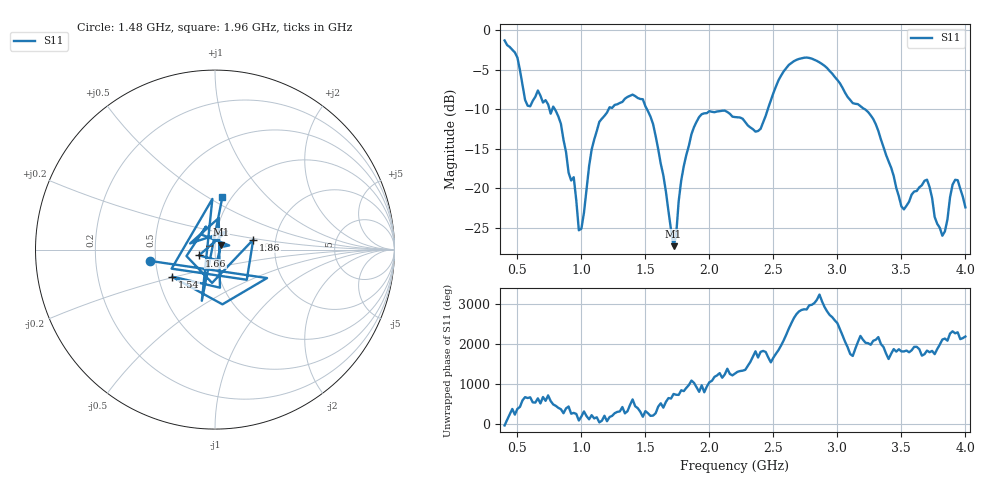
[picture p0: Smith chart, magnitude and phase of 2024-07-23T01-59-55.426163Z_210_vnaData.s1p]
!Created with skrf (http://scikit-rf.org).
# Hz S RI R 50.0
!freq ReS11 ImS11
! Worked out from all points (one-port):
!   181 points, 400 MHz to 4 GHz, reference 50 ohm
!   lowest |S11| = -27.4 dB at 1.72 GHz (marker M1), VSWR 1.09, Z = 53.3 + j2.91 ohm
!   |S11| at or under -10 dB: 792.8 MHz to 1.212 GHz (419.5 MHz wide, 41.8 % of centre); 1.512 GHz to 2.456 GHz (943.7 MHz wide, 47.6 % of centre); 3.215 GHz to end of sweep (the widest 3 of 4)
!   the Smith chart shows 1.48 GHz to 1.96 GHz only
!   S11 on the Smith chart (normalised r, x): 1.48 GHz: 0.47, -0.07; 1.54 GHz: 0.59, -0.19; 1.66 GHz: 0.83, -0.05; 1.86 GHz: 1.53, +0.18; 1.96 GHz: 0.91, +0.59
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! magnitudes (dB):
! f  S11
! 400 MHz  -1.3
! 500 MHz  -3.4
! 580 MHz  -9.5
! 660 MHz  -7.6
! 860 MHz  -13.9
! 1 GHz  -25.1
! 1.08 GHz  -15.1
! 1.14 GHz  -11.6
! 1.3 GHz  -9.2
! 1.48 GHz  -8.7
! 1.54 GHz  -10.9
! 1.66 GHz  -20.4
! 1.72 GHz  -27.4
! 1.76 GHz  -21.7
! 1.86 GHz  -13.1
! 1.96 GHz  -10.5
! 2.2 GHz  -11.0
! 2.4 GHz  -12.5
! 2.66 GHz  -3.9
! 2.88 GHz  -4.3
! 3.1 GHz  -8.8
! 3.28 GHz  -11.2
! 3.5 GHz  -22.3
! 3.56 GHz  -21.7
! 3.7 GHz  -18.9
! 3.82 GHz  -26.0
! 3.92 GHz  -18.9
! 4 GHz  -22.4
